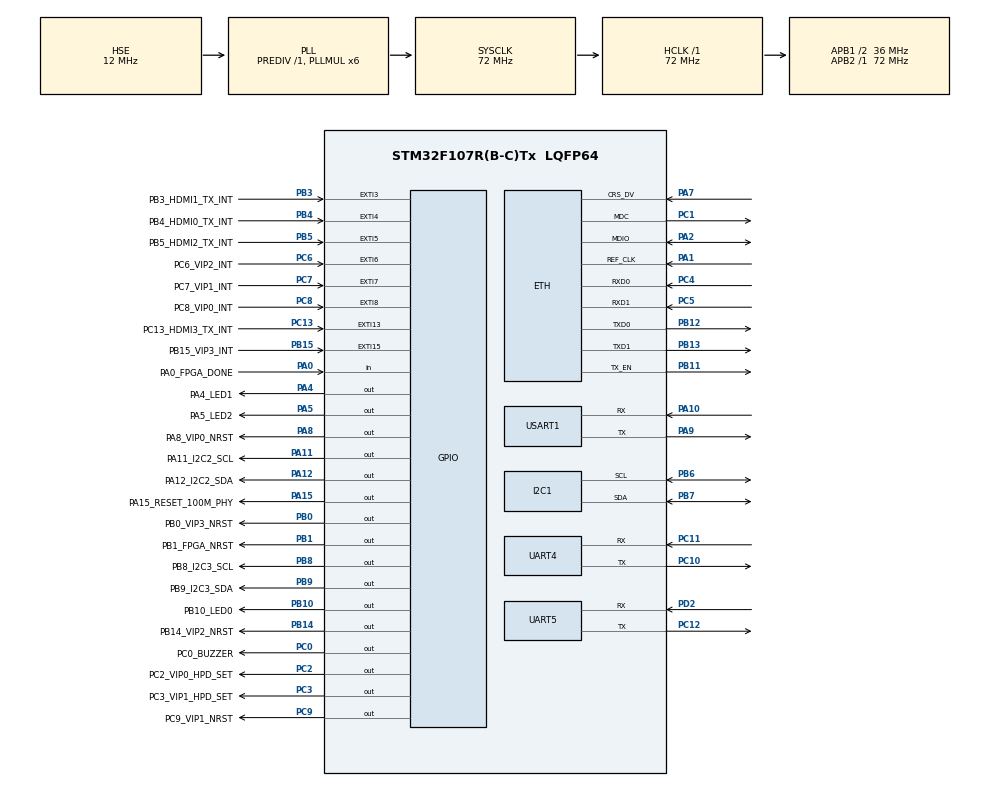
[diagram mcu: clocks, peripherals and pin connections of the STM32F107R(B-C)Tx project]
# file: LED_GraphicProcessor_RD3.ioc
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ETH.MACAddr=00\:80\:E1\:00\:00\:02
ETH.MediaInterface=ETH_MEDIA_INTERFACE_RMII
LWIP.GATEWAY_ADDRESS=192.168.001.001
LWIP.IP_ADDRESS=192.168.001.100
LWIP.LWIP_DHCP=0
LWIP.MEMP_NUM_RAW_PCB=2
LWIP.MEMP_NUM_TCP_PCB=1
LWIP.MEMP_NUM_TCP_PCB_LISTEN=4
LWIP.MEMP_NUM_TCP_SEG=16
LWIP.MEMP_NUM_UDP_PCB=1
LWIP.NETMASK_ADDRESS=255.255.255.000
LWIP.PBUF_POOL_SIZE=16
Mcu.Family=STM32F1
Mcu.Name=STM32F107R(B-C)Tx
Mcu.Package=LQFP64
NVIC.PriorityGroup=NVIC_PRIORITYGROUP_4
NVIC.TIM6_IRQn=true\:0\:0\:false
NVIC.UART4_IRQn=true\:0\:0\:false
NVIC.UART5_IRQn=true\:0\:0\:false
NVIC.USART1_IRQn=true\:0\:0\:false
PA0-WKUP.GPIO_Label=PA0_FPGA_DONE
PA0-WKUP.Signal=GPIO_Input
PA1.Mode=RMII
PA1.Signal=ETH_REF_CLK
PA10.Mode=Asynchronous
PA10.Signal=USART1_RX
PA11.GPIO_Label=PA11_I2C2_SCL
PA11.GPIO_Speed=GPIO_SPEED_LOW
PA11.PinState=GPIO_PIN_SET
PA11.Signal=GPIO_Output
PA12.GPIO_Label=PA12_I2C2_SDA
PA12.PinState=GPIO_PIN_SET
PA12.Signal=GPIO_Output
PA13.Mode=Serial_Wire
PA13.Signal=SYS_JTMS-SWDIO
PA14.Mode=Serial_Wire
PA14.Signal=SYS_JTCK-SWCLK
PA15.GPIO_Label=PA15_RESET_100M_PHY
PA15.PinState=GPIO_PIN_SET
PA15.Signal=GPIO_Output
PA2.Mode=RMII
PA2.Signal=ETH_MDIO
PA4.GPIO_Label=PA4_LED1
PA4.GPIO_ModeDefaultOutputPP=GPIO_MODE_OUTPUT_PP
PA4.GPIO_Speed=GPIO_SPEED_HIGH
PA4.PinState=GPIO_PIN_SET
PA4.Signal=GPIO_Output
PA5.GPIO_Label=PA5_LED2
PA5.GPIO_ModeDefaultOutputPP=GPIO_MODE_OUTPUT_PP
PA5.GPIO_Speed=GPIO_SPEED_HIGH
PA5.PinState=GPIO_PIN_SET
PA5.Signal=GPIO_Output
PA7.Mode=RMII
PA7.Signal=ETH_CRS_DV
PA8.GPIO_Label=PA8_VIP0_NRST
PA8.GPIO_Speed=GPIO_SPEED_LOW
PA8.PinState=GPIO_PIN_SET
PA8.Signal=GPIO_Output
PA9.Mode=Asynchronous
PA9.Signal=USART1_TX
PB0.GPIO_Label=PB0_VIP3_NRST
PB0.PinState=GPIO_PIN_SET
PB0.Signal=GPIO_Output
PB1.GPIO_Label=PB1_FPGA_NRST
PB1.GPIO_ModeDefaultOutputPP=GPIO_MODE_OUTPUT_PP
PB1.PinState=GPIO_PIN_RESET
PB1.Signal=GPIO_Output
PB10.GPIO_Label=PB10_LED0
PB10.GPIO_Speed=GPIO_SPEED_HIGH
PB10.PinState=GPIO_PIN_SET
PB10.Signal=GPIO_Output
PB11.Mode=RMII
PB11.Signal=ETH_TX_EN
PB12.Mode=RMII
PB12.Signal=ETH_TXD0
PB13.Mode=RMII
PB13.Signal=ETH_TXD1
PB14.GPIO_Label=PB14_VIP2_NRST
PB14.PinState=GPIO_PIN_SET
PB14.Signal=GPIO_Output
PB15.GPIO_Label=PB15_VIP3_INT
PB15.Signal=GPXTI15
PB3.GPIO_Label=PB3_HDMI1_TX_INT
PB3.Signal=GPXTI3
PB4.GPIO_Label=PB4_HDMI0_TX_INT
PB4.Signal=GPXTI4
PB5.GPIO_Label=PB5_HDMI2_TX_INT
PB5.Signal=GPXTI5
PB6.Mode=I2C
PB6.Signal=I2C1_SCL
PB7.Mode=I2C
PB7.Signal=I2C1_SDA
PB8.GPIO_Label=PB8_I2C3_SCL
PB8.PinState=GPIO_PIN_SET
PB8.Signal=GPIO_Output
PB9.GPIO_Label=PB9_I2C3_SDA
PB9.PinState=GPIO_PIN_SET
PB9.Signal=GPIO_Output
PC0.GPIO_Label=PC0_BUZZER
PC0.Signal=GPIO_Output
PC1.Mode=RMII
PC1.Signal=ETH_MDC
PC10.Mode=Asynchronous
PC10.Signal=UART4_TX
PC11.Mode=Asynchronous
PC11.Signal=UART4_RX
PC12.Mode=Asynchronous
PC12.Signal=UART5_TX
PC13-TAMPER-RTC.GPIO_Label=PC13_HDMI3_TX_INT
PC13-TAMPER-RTC.Signal=GPXTI13
PC14-OSC32_IN.Mode=LSE-External-Oscillator
PC14-OSC32_IN.Signal=RCC_OSC32_IN
PC15-OSC32_OUT.Mode=LSE-External-Oscillator
PC15-OSC32_OUT.Signal=RCC_OSC32_OUT
PC2.GPIO_Label=PC2_VIP0_HPD_SET
PC2.PinState=GPIO_PIN_SET
PC2.Signal=GPIO_Output
PC3.GPIO_Label=PC3_VIP1_HPD_SET
PC3.PinState=GPIO_PIN_SET
PC3.Signal=GPIO_Output
PC4.Mode=RMII
PC4.Signal=ETH_RXD0
PC5.Mode=RMII
PC5.Signal=ETH_RXD1
PC6.GPIO_Label=PC6_VIP2_INT
PC6.Signal=GPXTI6
PC7.GPIO_Label=PC7_VIP1_INT
PC7.Signal=GPXTI7
PC8.GPIO_Label=PC8_VIP0_INT
PC8.Signal=GPXTI8
PC9.GPIO_Label=PC9_VIP1_NRST
PC9.PinState=GPIO_PIN_SET
PC9.Signal=GPIO_Output
PD0-OSC_IN.Mode=HSE-External-Oscillator
PD0-OSC_IN.Signal=RCC_OSC_IN
PD1-OSC_OUT.Mode=HSE-External-Oscillator
PD1-OSC_OUT.Signal=RCC_OSC_OUT
PD2.Mode=Asynchronous
PD2.Signal=UART5_RX
ProjectManager.HeapSize=0x600
ProjectManager.StackSize=0x200
ProjectManager.TargetToolchain=MDK-ARM V5
RCC.AHBFreq_Value=72000000
RCC.APB1CLKDivider=RCC_HCLK_DIV2
RCC.APB1Freq_Value=36000000
RCC.APB1TimFreq_Value=72000000
RCC.APB2Freq_Value=72000000
RCC.APB2TimFreq_Value=72000000
RCC.HCLKFreq_Value=72000000
RCC.HSE_VALUE=12000000
RCC.HSIState=RCC_HSI_ON
RCC.PLLMUL=RCC_PLL_MUL6
RCC.PLLSourceVirtual=RCC_PLLSOURCE_HSE
RCC.SYSCLKFreq_VALUE=72000000
RCC.SYSCLKSource=RCC_SYSCLKSOURCE_PLLCLK
RCC.USBFreq_Value=48000000
TIM6.Period=7199
VP_LWIP_VS_Enabled.Mode=Enabled
VP_TIM6_VS_ClockSourceINT.Mode=Enable_Timer
board=LED_GraphicProcessor_RD3

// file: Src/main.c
/**
  ******************************************************************************
  * File Name          : main.c
  * Description        : Main program body
  ******************************************************************************
  *
  * COPYRIGHT(c) 2016 STMicroelectronics
  *
  * Redistribution and use in source and binary forms, with or without modification,
  * are permitted provided that the following conditions are met:
  *   1. Redistributions of source code must retain the above copyright notice,
  *      this list of conditions and the following disclaimer.
  *   2. Redistributions in binary form must reproduce the above copyright notice,
  *      this list of conditions and the following disclaimer in the documentation
  *      and/or other materials provided with the distribution.
  *   3. Neither the name of STMicroelectronics nor the names of its contributors
  *      may be used to endorse or promote products derived from this software
  *      without specific prior written permission.
  *
  * THIS SOFTWARE IS PROVIDED BY THE COPYRIGHT HOLDERS AND CONTRIBUTORS "AS IS"
  * AND ANY EXPRESS OR IMPLIED WARRANTIES, INCLUDING, BUT NOT LIMITED TO, THE
  * IMPLIED WARRANTIES OF MERCHANTABILITY AND FITNESS FOR A PARTICULAR PURPOSE ARE
  * DISCLAIMED. IN NO EVENT SHALL THE COPYRIGHT HOLDER OR CONTRIBUTORS BE LIABLE
  * FOR ANY DIRECT, INDIRECT, INCIDENTAL, SPECIAL, EXEMPLARY, OR CONSEQUENTIAL
  * DAMAGES (INCLUDING, BUT NOT LIMITED TO, PROCUREMENT OF SUBSTITUTE GOODS OR
  * SERVICES; LOSS OF USE, DATA, OR PROFITS; OR BUSINESS INTERRUPTION) HOWEVER
  * CAUSED AND ON ANY THEORY OF LIABILITY, WHETHER IN CONTRACT, STRICT LIABILITY,
  * OR TORT (INCLUDING NEGLIGENCE OR OTHERWISE) ARISING IN ANY WAY OUT OF THE USE
  * OF THIS SOFTWARE, EVEN IF ADVISED OF THE POSSIBILITY OF SUCH DAMAGE.
  *
  ******************************************************************************
  */
#include "stm32f1xx_hal.h"
#include "lwip.h"

/* USER CODE BEGIN Includes */
#include "InitDevice.h"
#include "D_IIC.H"
#include "tcp_echoserver.h"
#include "../MultiSignalBoard/OutputBoardSiI9136.h"
#include "../MultiSignalBoard/InputBoardADV7604.h"
#include "../User Command/UserCommandPC_API.h"
#include "../WindowsLayout/ScreenWindowLayout.h"
/* USER CODE END Includes */

I2C_HandleTypeDef hi2c1;

TIM_HandleTypeDef htim6;

UART_HandleTypeDef huart4;
UART_HandleTypeDef huart5;
UART_HandleTypeDef huart1;

/* USER CODE BEGIN PV */
/* Private variables ---------------------------------------------------------*/

/* USER CODE END PV */

void SystemClock_Config(void);
static void MX_GPIO_Init(void);
static void MX_I2C1_Init(void);
static void MX_TIM6_Init(void);
static void MX_UART4_Init(void);
static void MX_UART5_Init(void);
static void MX_USART1_UART_Init(void);

/* USER CODE BEGIN PFP */
/* Private function prototypes -----------------------------------------------*/

/* USER CODE END PFP */

int main(void)
{

  /* MCU Configuration----------------------------------------------------------*/

  /* Reset of all peripherals, Initializes the Flash interface and the Systick. */
  HAL_Init();

  /* Configure the system clock */
  SystemClock_Config();

  /* Initialize all configured peripherals */
  MX_GPIO_Init();
  MX_I2C1_Init();
  MX_TIM6_Init();
  MX_UART4_Init();
  MX_UART5_Init();
  MX_USART1_UART_Init();

  /* USER CODE BEGIN 2 */
	McuInit();
	DevicesInit();
	TimeTick = 0;
	LoadUserLastMode(g_DisplayModeIndex);
  /* USER CODE END 2 */

  /* Infinite loop */
  while (1)
  {

  /* USER CODE BEGIN 3 */
		MX_LWIP_Process();
		if(TimeTick >= 200)
		{
			InputBoardADV7604Task();
			OutputBoardSiI9136Task();
			HAL_GPIO_TogglePin(GPIOB, GPIO_PIN_10);
			if(HAL_GPIO_ReadPin(GPIOA, GPIO_PIN_0) == GPIO_PIN_RESET)
			{
				HAL_GPIO_WritePin(GPIOA, GPIO_PIN_4, GPIO_PIN_SET);
				HAL_GPIO_WritePin(GPIOB, PB1_FPGA_NRST_Pin, GPIO_PIN_RESET);
			}
			else
			{
				HAL_GPIO_WritePin(GPIOA, GPIO_PIN_4, GPIO_PIN_RESET);
				HAL_GPIO_WritePin(GPIOB, PB1_FPGA_NRST_Pin, GPIO_PIN_SET);
			}
			TimeTick = 0;
			ScreenWindowLayoutTask();
		}
		Serial1CommandHandler();
		Serial4CommandHandler();
		Serial5CommandHandler();
  }
  /* USER CODE END 3 */

}

/** System Clock Configuration
*/
void SystemClock_Config(void)
{

  RCC_OscInitTypeDef RCC_OscInitStruct;
  RCC_ClkInitTypeDef RCC_ClkInitStruct;

  RCC_OscInitStruct.OscillatorType = RCC_OSCILLATORTYPE_HSE;
  RCC_OscInitStruct.HSEState = RCC_HSE_ON;
  RCC_OscInitStruct.HSEPredivValue = RCC_HSE_PREDIV_DIV1;
  RCC_OscInitStruct.Prediv1Source = RCC_PREDIV1_SOURCE_HSE;
  RCC_OscInitStruct.PLL.PLLState = RCC_PLL_ON;
  RCC_OscInitStruct.PLL.PLLSource = RCC_PLLSOURCE_HSE;
  RCC_OscInitStruct.PLL.PLLMUL = RCC_PLL_MUL6;
  RCC_OscInitStruct.PLL2.PLL2State = RCC_PLL_NONE;
  HAL_RCC_OscConfig(&RCC_OscInitStruct);

  RCC_ClkInitStruct.ClockType = RCC_CLOCKTYPE_HCLK|RCC_CLOCKTYPE_SYSCLK
                              |RCC_CLOCKTYPE_PCLK1|RCC_CLOCKTYPE_PCLK2;
  RCC_ClkInitStruct.SYSCLKSource = RCC_SYSCLKSOURCE_PLLCLK;
  RCC_ClkInitStruct.AHBCLKDivider = RCC_SYSCLK_DIV1;
  RCC_ClkInitStruct.APB1CLKDivider = RCC_HCLK_DIV2;
  RCC_ClkInitStruct.APB2CLKDivider = RCC_HCLK_DIV1;
  HAL_RCC_ClockConfig(&RCC_ClkInitStruct, FLASH_LATENCY_2);

  HAL_SYSTICK_Config(HAL_RCC_GetHCLKFreq()/1000);

  HAL_SYSTICK_CLKSourceConfig(SYSTICK_CLKSOURCE_HCLK);

  __HAL_RCC_PLLI2S_ENABLE();

  /* SysTick_IRQn interrupt configuration */
  HAL_NVIC_SetPriority(SysTick_IRQn, 0, 0);
}

/* I2C1 init function */
void MX_I2C1_Init(void)
{

  hi2c1.Instance = I2C1;
  hi2c1.Init.ClockSpeed = 100000;
  hi2c1.Init.DutyCycle = I2C_DUTYCYCLE_2;
  hi2c1.Init.OwnAddress1 = 0;
  hi2c1.Init.AddressingMode = I2C_ADDRESSINGMODE_7BIT;
  hi2c1.Init.DualAddressMode = I2C_DUALADDRESS_DISABLED;
  hi2c1.Init.OwnAddress2 = 0;
  hi2c1.Init.GeneralCallMode = I2C_GENERALCALL_DISABLED;
  hi2c1.Init.NoStretchMode = I2C_NOSTRETCH_DISABLED;
  HAL_I2C_Init(&hi2c1);

}

/* TIM6 init function */
void MX_TIM6_Init(void)
{

  TIM_MasterConfigTypeDef sMasterConfig;

  htim6.Instance = TIM6;
  htim6.Init.Prescaler = 0;
  htim6.Init.CounterMode = TIM_COUNTERMODE_UP;
  htim6.Init.Period = 7199;
  HAL_TIM_Base_Init(&htim6);

  sMasterConfig.MasterOutputTrigger = TIM_TRGO_RESET;
  sMasterConfig.MasterSlaveMode = TIM_MASTERSLAVEMODE_DISABLE;
  HAL_TIMEx_MasterConfigSynchronization(&htim6, &sMasterConfig);

}

/* UART4 init function */
void MX_UART4_Init(void)
{

  huart4.Instance = UART4;
  huart4.Init.BaudRate = 115200;
  huart4.Init.WordLength = UART_WORDLENGTH_8B;
  huart4.Init.StopBits = UART_STOPBITS_1;
  huart4.Init.Parity = UART_PARITY_NONE;
  huart4.Init.Mode = UART_MODE_TX_RX;
  huart4.Init.HwFlowCtl = UART_HWCONTROL_NONE;
  huart4.Init.OverSampling = UART_OVERSAMPLING_16;
  HAL_UART_Init(&huart4);

}

/* UART5 init function */
void MX_UART5_Init(void)
{

  huart5.Instance = UART5;
  huart5.Init.BaudRate = 115200;
  huart5.Init.WordLength = UART_WORDLENGTH_8B;
  huart5.Init.StopBits = UART_STOPBITS_1;
  huart5.Init.Parity = UART_PARITY_NONE;
  huart5.Init.Mode = UART_MODE_TX_RX;
  huart5.Init.HwFlowCtl = UART_HWCONTROL_NONE;
  huart5.Init.OverSampling = UART_OVERSAMPLING_16;
  HAL_UART_Init(&huart5);

}

/* USART1 init function */
void MX_USART1_UART_Init(void)
{

  huart1.Instance = USART1;
  huart1.Init.BaudRate = 115200;
  huart1.Init.WordLength = UART_WORDLENGTH_8B;
  huart1.Init.StopBits = UART_STOPBITS_1;
  huart1.Init.Parity = UART_PARITY_NONE;
  huart1.Init.Mode = UART_MODE_TX_RX;
  huart1.Init.HwFlowCtl = UART_HWCONTROL_NONE;
  huart1.Init.OverSampling = UART_OVERSAMPLING_16;
  HAL_UART_Init(&huart1);

}

/** Configure pins as
        * Analog
        * Input
        * Output
        * EVENT_OUT
        * EXTI
*/
void MX_GPIO_Init(void)
{

  GPIO_InitTypeDef GPIO_InitStruct;

  /* GPIO Ports Clock Enable */
  __HAL_RCC_GPIOC_CLK_ENABLE();
  __HAL_RCC_GPIOD_CLK_ENABLE();
  __HAL_RCC_GPIOA_CLK_ENABLE();
  __HAL_RCC_GPIOB_CLK_ENABLE();

  /*Configure GPIO pins : PC13_HDMI3_TX_INT_Pin PC6_VIP2_INT_Pin PC7_VIP1_INT_Pin PC8_VIP0_INT_Pin */
  GPIO_InitStruct.Pin = PC13_HDMI3_TX_INT_Pin|PC6_VIP2_INT_Pin|PC7_VIP1_INT_Pin|PC8_VIP0_INT_Pin;
  GPIO_InitStruct.Mode = GPIO_MODE_IT_RISING;
  GPIO_InitStruct.Pull = GPIO_NOPULL;
  HAL_GPIO_Init(GPIOC, &GPIO_InitStruct);

  /*Configure GPIO pins : PC0_BUZZER_Pin PC2_VIP0_HPD_SET_Pin PC3_VIP1_HPD_SET_Pin PC9_VIP1_NRST_Pin */
  GPIO_InitStruct.Pin = PC0_BUZZER_Pin|PC2_VIP0_HPD_SET_Pin|PC3_VIP1_HPD_SET_Pin|PC9_VIP1_NRST_Pin;
  GPIO_InitStruct.Mode = GPIO_MODE_OUTPUT_PP;
  GPIO_InitStruct.Speed = GPIO_SPEED_LOW;
  HAL_GPIO_Init(GPIOC, &GPIO_InitStruct);

  /*Configure GPIO pin : PA0_FPGA_DONE_Pin */
  GPIO_InitStruct.Pin = PA0_FPGA_DONE_Pin;
  GPIO_InitStruct.Mode = GPIO_MODE_INPUT;
  GPIO_InitStruct.Pull = GPIO_NOPULL;
  HAL_GPIO_Init(PA0_FPGA_DONE_GPIO_Port, &GPIO_InitStruct);

  /*Configure GPIO pins : PA4_LED1_Pin PA5_LED2_Pin */
  GPIO_InitStruct.Pin = PA4_LED1_Pin|PA5_LED2_Pin;
  GPIO_InitStruct.Mode = GPIO_MODE_OUTPUT_PP;
  GPIO_InitStruct.Speed = GPIO_SPEED_HIGH;
  HAL_GPIO_Init(GPIOA, &GPIO_InitStruct);

  /*Configure GPIO pins : PB0_VIP3_NRST_Pin PB1_FPGA_NRST_Pin PB14_VIP2_NRST_Pin PB8_I2C3_SCL_Pin
                           PB9_I2C3_SDA_Pin */
  GPIO_InitStruct.Pin = PB0_VIP3_NRST_Pin|PB1_FPGA_NRST_Pin|PB14_VIP2_NRST_Pin|PB8_I2C3_SCL_Pin
                          |PB9_I2C3_SDA_Pin;
  GPIO_InitStruct.Mode = GPIO_MODE_OUTPUT_PP;
  GPIO_InitStruct.Speed = GPIO_SPEED_LOW;
  HAL_GPIO_Init(GPIOB, &GPIO_InitStruct);

  /*Configure GPIO pin : PB10_LED0_Pin */
  GPIO_InitStruct.Pin = PB10_LED0_Pin;
  GPIO_InitStruct.Mode = GPIO_MODE_OUTPUT_PP;
  GPIO_InitStruct.Speed = GPIO_SPEED_HIGH;
  HAL_GPIO_Init(PB10_LED0_GPIO_Port, &GPIO_InitStruct);

  /*Configure GPIO pins : PB15_VIP3_INT_Pin PB3_HDMI1_TX_INT_Pin PB4_HDMI0_TX_INT_Pin PB5_HDMI2_TX_INT_Pin */
  GPIO_InitStruct.Pin = PB15_VIP3_INT_Pin|PB3_HDMI1_TX_INT_Pin|PB4_HDMI0_TX_INT_Pin|PB5_HDMI2_TX_INT_Pin;
  GPIO_InitStruct.Mode = GPIO_MODE_IT_RISING;
  GPIO_InitStruct.Pull = GPIO_NOPULL;
  HAL_GPIO_Init(GPIOB, &GPIO_InitStruct);

  /*Configure GPIO pins : PA8_VIP0_NRST_Pin PA11_I2C2_SCL_Pin PA12_I2C2_SDA_Pin PA15_RESET_100M_PHY_Pin */
  GPIO_InitStruct.Pin = PA8_VIP0_NRST_Pin|PA11_I2C2_SCL_Pin|PA12_I2C2_SDA_Pin|PA15_RESET_100M_PHY_Pin;
  GPIO_InitStruct.Mode = GPIO_MODE_OUTPUT_PP;
  GPIO_InitStruct.Speed = GPIO_SPEED_LOW;
  HAL_GPIO_Init(GPIOA, &GPIO_InitStruct);

  /*Configure GPIO pin Output Level */
  HAL_GPIO_WritePin(PC0_BUZZER_GPIO_Port, PC0_BUZZER_Pin, GPIO_PIN_RESET);

  /*Configure GPIO pin Output Level */
  HAL_GPIO_WritePin(GPIOC, PC2_VIP0_HPD_SET_Pin|PC3_VIP1_HPD_SET_Pin|PC9_VIP1_NRST_Pin, GPIO_PIN_SET);

  /*Configure GPIO pin Output Level */
  HAL_GPIO_WritePin(GPIOA, PA4_LED1_Pin|PA5_LED2_Pin|PA8_VIP0_NRST_Pin|PA11_I2C2_SCL_Pin
                          |PA12_I2C2_SDA_Pin|PA15_RESET_100M_PHY_Pin, GPIO_PIN_SET);

  /*Configure GPIO pin Output Level */
  HAL_GPIO_WritePin(GPIOB, PB0_VIP3_NRST_Pin|PB10_LED0_Pin|PB14_VIP2_NRST_Pin
                          |PB8_I2C3_SCL_Pin|PB9_I2C3_SDA_Pin, GPIO_PIN_SET);
	HAL_GPIO_WritePin(GPIOB, PB1_FPGA_NRST_Pin, GPIO_PIN_RESET);

}

/************************ (C) COPYRIGHT STMicroelectronics *****END OF FILE****/
